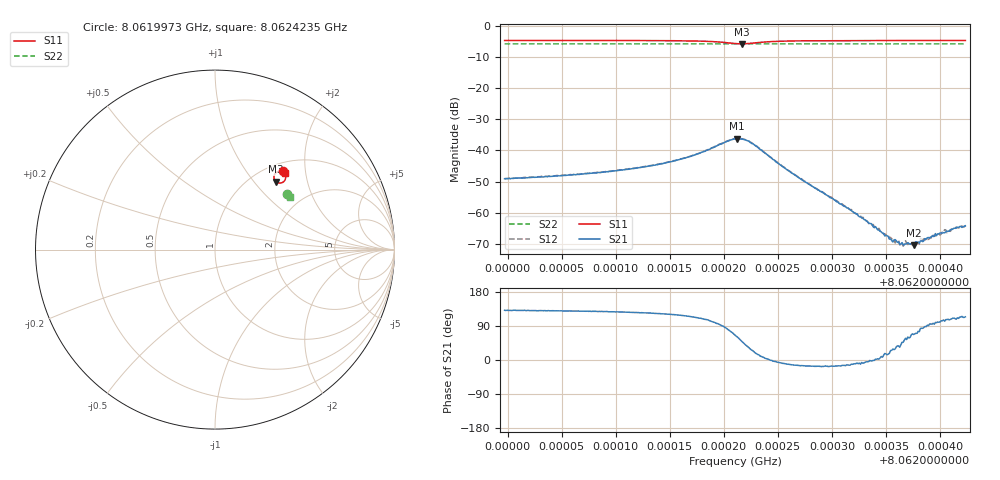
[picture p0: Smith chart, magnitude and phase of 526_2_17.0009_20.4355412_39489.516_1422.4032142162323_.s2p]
#  HZ  S  RI  R  50.00
! Rohde & Schwarz Vector Network Analyzer
! Rohde-Schwarz,ZNB20-2Port,1311601062101988,3.16
! Created: UTC 3/20/2024, 11:15:42 PM
! freq[Hz]  re:S11  im:S11  re:S21  im:S21  re:S12  im:S12  re:S22  im:S22
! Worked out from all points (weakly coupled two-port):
!   401 points, 8.0619973 GHz to 8.0624235 GHz, reference 50 ohm
!   highest |S21| = -36.26 dB at 8.0622125 GHz (marker M1); lowest = -70.4 dB at 8.0623755 GHz (marker M2)
!   lowest |S11| = -5.9 dB at 8.0622168 GHz (marker M3), VSWR 3.07, Z = 63.8 + j65.3 ohm
!   |S11| at or under -10 dB: nowhere
!   |S22| runs from -5.9 to -5.9 dB; largest |S21 - S12| = 0.0011
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8.06199731e9  0.3767 0.4358  -0.0023 0.00263  -0.00215 0.0028  0.4025 0.3116
8.06206869e9  0.3827 0.4299  -0.00261 0.00324  -0.00241 0.00344  0.4054 0.308
8.06210172e9  0.3858 0.4261  -0.00284 0.00378  -0.00262 0.00399  0.4066 0.3061
8.06214008e9  0.3903 0.4189  -0.00321 0.00504  -0.00294 0.00527  0.4079 0.3037
8.06216991e9  0.3937 0.4071  -0.0033 0.00735  -0.0029 0.00759  0.409 0.3019
8.0622104e9  0.3567 0.3708  0.00628 0.0139  0.00695 0.0138  0.408 0.2988
8.06221253e9  0.3505 0.3723  0.00764 0.0134  0.00833 0.013  0.4078 0.299
8.06221679e9  0.3389 0.3793  0.00994 0.0114  0.0107 0.011  0.4077 0.2991
8.06222851e9  0.3292 0.4105  0.0114 0.00419  0.0117 0.00362  0.4081 0.3001
8.06225728e9  0.3567 0.4356  0.00498 -0.000895  0.00498 -0.00122  0.4106 0.2995
8.06228178e9  0.3689 0.4352  0.00255 -0.000733  0.00252 -0.000901  0.412 0.2981
8.06231694e9  0.3776 0.432  0.00108 -0.000256  0.00107 -0.000305  0.4134 0.2962
8.06235317e9  0.383 0.4292  0.00036 0.000113  0.000395 6.66e-05  0.4148 0.2943
8.06236489e9  0.3843 0.4282  0.000226 0.000242  0.000234 0.000227  0.4153 0.2937
8.06237554e9  0.3855 0.4274  0.000116 0.000278  0.00016 0.000314  0.4157 0.293
8.06237874e9  0.3858 0.4272  0.000112 0.000313  8.39e-05 0.000299  0.4158 0.2929
8.06238407e9  0.3863 0.4269  3.81e-05 0.000341  5.38e-05 0.000324  0.416 0.2925
8.06238939e9  0.3868 0.4266  -5.33e-06 0.000401  6.98e-06 0.000375  0.4162 0.2923
8.06240324e9  0.3882 0.4255  -0.000129 0.000461  -6.19e-05 0.000482  0.4167 0.2917
8.06240857e9  0.3884 0.4251  -0.000138 0.000492  -0.000143 0.000493  0.417 0.2914
8.06241496e9  0.3891 0.4248  -0.000172 0.00054  -0.000197 0.000553  0.417 0.291
8.06242349e9  0.3898 0.4242  -0.000249 0.000565  -0.00025 0.000562  0.4173 0.2906
